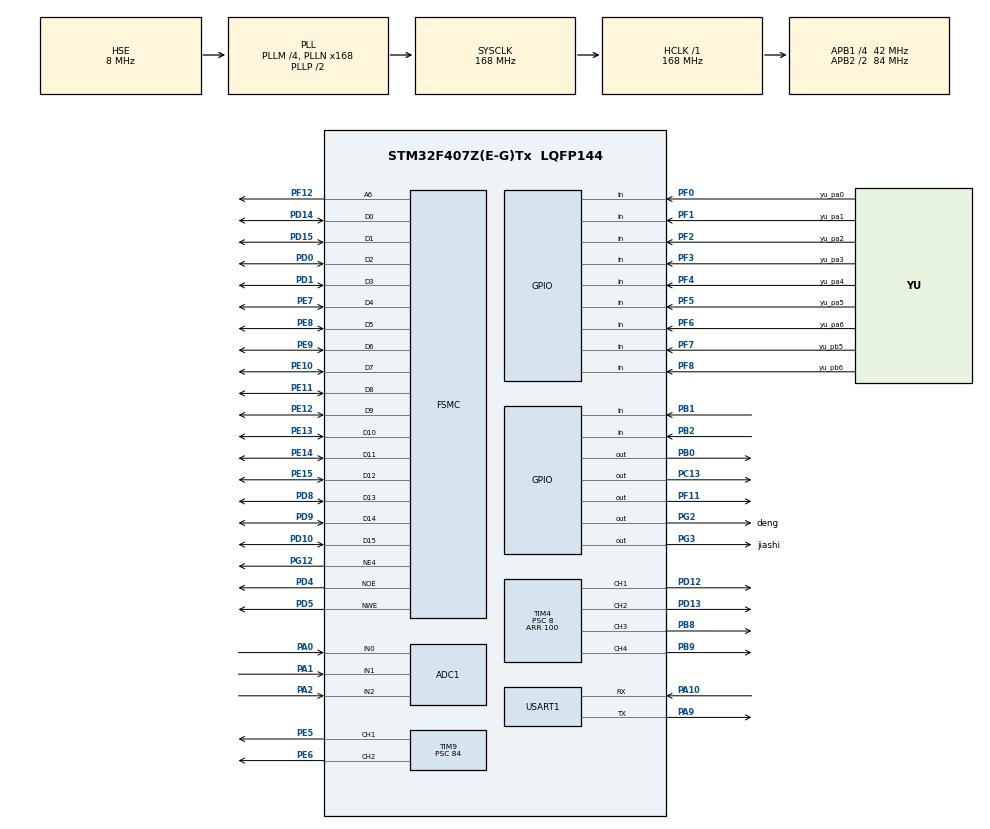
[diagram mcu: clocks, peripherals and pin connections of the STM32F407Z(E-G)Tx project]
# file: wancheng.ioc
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ADC1.Channel-2\#ChannelRegularConversion=ADC_CHANNEL_0
ADC1.Channel-3\#ChannelRegularConversion=ADC_CHANNEL_1
ADC1.Channel-4\#ChannelRegularConversion=ADC_CHANNEL_2
ADC1.ContinuousConvMode=ENABLE
ADC1.DMAContinuousRequests=ENABLE
ADC1.NbrOfConversion=3
ADC1.NbrOfConversionFlag=1
ADC1.Rank-2\#ChannelRegularConversion=1
ADC1.Rank-3\#ChannelRegularConversion=2
ADC1.Rank-4\#ChannelRegularConversion=3
ADC1.SamplingTime-2\#ChannelRegularConversion=ADC_SAMPLETIME_3CYCLES
ADC1.SamplingTime-3\#ChannelRegularConversion=ADC_SAMPLETIME_3CYCLES
ADC1.SamplingTime-4\#ChannelRegularConversion=ADC_SAMPLETIME_3CYCLES
ADC1.ScanConvMode=ENABLE
ADC1.master=1
Dma.ADC1.0.Direction=DMA_PERIPH_TO_MEMORY
Dma.ADC1.0.FIFOMode=DMA_FIFOMODE_DISABLE
Dma.ADC1.0.Instance=DMA2_Stream0
Dma.ADC1.0.MemDataAlignment=DMA_MDATAALIGN_WORD
Dma.ADC1.0.MemInc=DMA_MINC_ENABLE
Dma.ADC1.0.Mode=DMA_CIRCULAR
Dma.ADC1.0.PeriphDataAlignment=DMA_PDATAALIGN_WORD
Dma.ADC1.0.PeriphInc=DMA_PINC_DISABLE
Dma.ADC1.0.Priority=DMA_PRIORITY_MEDIUM
Dma.Request0=ADC1
FSMC.AddressSetupTime4=9
FSMC.BusTurnAroundDuration4=0
FSMC.DataSetupTime4=1
Mcu.Family=STM32F4
Mcu.Name=STM32F407Z(E-G)Tx
Mcu.Package=LQFP144
NVIC.DMA2_Stream0_IRQn=true\:0\:0\:false\:false\:true\:false\:true\:true
NVIC.PriorityGroup=NVIC_PRIORITYGROUP_4
NVIC.TIM2_IRQn=true\:0\:0\:false\:false\:true\:true\:true\:true
NVIC.TIM3_IRQn=true\:0\:0\:false\:false\:true\:true\:true\:true
NVIC.USART1_IRQn=true\:0\:0\:false\:false\:true\:true\:true\:true
PA0-WKUP.Signal=ADCx_IN0
PA1.Signal=ADCx_IN1
PA10.Mode=Asynchronous
PA10.Signal=USART1_RX
PA13.Mode=Serial_Wire
PA13.Signal=SYS_JTMS-SWDIO
PA14.Mode=Serial_Wire
PA14.Signal=SYS_JTCK-SWCLK
PA2.Signal=ADCx_IN2
PA9.Mode=Asynchronous
PA9.Signal=USART1_TX
PB0.Signal=GPIO_Output
PB1.GPIO_PuPd=GPIO_PULLUP
PB1.Signal=GPIO_Input
PB2.GPIO_PuPd=GPIO_PULLUP
PB2.Signal=GPIO_Input
PB8.Signal=S_TIM4_CH3
PB9.Signal=S_TIM4_CH4
PC13-ANTI_TAMP.Signal=GPIO_Output
PC14-OSC32_IN.Mode=LSE-External-Oscillator
PC14-OSC32_IN.Signal=RCC_OSC32_IN
PC15-OSC32_OUT.Mode=LSE-External-Oscillator
PC15-OSC32_OUT.Signal=RCC_OSC32_OUT
PD0.Signal=FSMC_D2_DA2
PD1.Signal=FSMC_D3_DA3
PD10.Signal=FSMC_D15_DA15
PD12.Signal=S_TIM4_CH1
PD13.Signal=S_TIM4_CH2
PD14.Signal=FSMC_D0_DA0
PD15.Signal=FSMC_D1_DA1
PD4.Signal=FSMC_NOE
PD5.Signal=FSMC_NWE
PD8.Signal=FSMC_D13_DA13
PD9.Signal=FSMC_D14_DA14
PE10.Signal=FSMC_D7_DA7
PE11.Signal=FSMC_D8_DA8
PE12.Signal=FSMC_D9_DA9
PE13.Signal=FSMC_D10_DA10
PE14.Signal=FSMC_D11_DA11
PE15.Signal=FSMC_D12_DA12
PE5.Signal=S_TIM9_CH1
PE6.Signal=S_TIM9_CH2
PE7.Signal=FSMC_D4_DA4
PE8.Signal=FSMC_D5_DA5
PE9.Signal=FSMC_D6_DA6
PF0.GPIO_Label=yu_pa0
PF0.GPIO_PuPd=GPIO_PULLDOWN
PF0.Signal=GPIO_Input
PF1.GPIO_Label=yu_pa1
PF1.GPIO_PuPd=GPIO_PULLDOWN
PF1.Signal=GPIO_Input
PF11.Signal=GPIO_Output
PF12.Signal=FSMC_A6
PF2.GPIO_Label=yu_pa2
PF2.GPIO_PuPd=GPIO_PULLDOWN
PF2.Signal=GPIO_Input
PF3.GPIO_Label=yu_pa3
PF3.GPIO_PuPd=GPIO_PULLDOWN
PF3.Signal=GPIO_Input
PF4.GPIO_Label=yu_pa4
PF4.GPIO_PuPd=GPIO_PULLDOWN
PF4.Signal=GPIO_Input
PF5.GPIO_Label=yu_pa5
PF5.GPIO_PuPd=GPIO_PULLDOWN
PF5.Signal=GPIO_Input
PF6.GPIO_Label=yu_pa6
PF6.GPIO_PuPd=GPIO_PULLDOWN
PF6.Signal=GPIO_Input
PF7.GPIO_Label=yu_pb5
PF7.GPIO_PuPd=GPIO_PULLDOWN
PF7.Signal=GPIO_Input
PF8.GPIO_Label=yu_pb6
PF8.GPIO_PuPd=GPIO_PULLDOWN
PF8.Signal=GPIO_Input
PG12.Mode=NorPsramChipSelect4_4
PG12.Signal=FSMC_NE4
PG2.GPIO_Label=deng
PG2.GPIO_PuPd=GPIO_PULLDOWN
PG2.GPIO_Speed=GPIO_SPEED_FREQ_MEDIUM
PG2.PinState=GPIO_PIN_RESET
PG2.Signal=GPIO_Output
PG3.GPIO_Label=jiashi
PG3.GPIO_ModeDefaultOutputPP=GPIO_MODE_OUTPUT_PP
PG3.GPIO_PuPd=GPIO_PULLDOWN
PG3.GPIO_Speed=GPIO_SPEED_FREQ_MEDIUM
PG3.Signal=GPIO_Output
PH0-OSC_IN.Mode=HSE-External-Oscillator
PH0-OSC_IN.Signal=RCC_OSC_IN
PH1-OSC_OUT.Mode=HSE-External-Oscillator
PH1-OSC_OUT.Signal=RCC_OSC_OUT
ProjectManager.HeapSize=0x200
ProjectManager.StackSize=0x400
ProjectManager.TargetToolchain=MDK-ARM V5.32
RCC.48MHZClocksFreq_Value=84000000
RCC.AHBFreq_Value=168000000
RCC.APB1CLKDivider=RCC_HCLK_DIV4
RCC.APB1Freq_Value=42000000
RCC.APB1TimFreq_Value=84000000
RCC.APB2CLKDivider=RCC_HCLK_DIV2
RCC.APB2Freq_Value=84000000
RCC.APB2TimFreq_Value=168000000
RCC.CortexFreq_Value=168000000
RCC.HCLKFreq_Value=168000000
RCC.HSE_VALUE=8000000
RCC.HSI_VALUE=16000000
RCC.PLLM=4
RCC.PLLN=168
RCC.PLLSourceVirtual=RCC_PLLSOURCE_HSE
RCC.SYSCLKFreq_VALUE=168000000
RCC.SYSCLKSource=RCC_SYSCLKSOURCE_PLLCLK
RCC.VCOOutputFreq_Value=336000000
SH.ADCx_IN0.0=ADC1_IN0,IN0
SH.ADCx_IN1.0=ADC1_IN1,IN1
SH.ADCx_IN2.0=ADC1_IN2,IN2
SH.FSMC_A6.0=FSMC_A6,A6_4
SH.FSMC_D0_DA0.0=FSMC_D0,16b-d4
SH.FSMC_D10_DA10.0=FSMC_D10,16b-d4
SH.FSMC_D11_DA11.0=FSMC_D11,16b-d4
SH.FSMC_D12_DA12.0=FSMC_D12,16b-d4
SH.FSMC_D13_DA13.0=FSMC_D13,16b-d4
SH.FSMC_D14_DA14.0=FSMC_D14,16b-d4
SH.FSMC_D15_DA15.0=FSMC_D15,16b-d4
SH.FSMC_D1_DA1.0=FSMC_D1,16b-d4
SH.FSMC_D2_DA2.0=FSMC_D2,16b-d4
SH.FSMC_D3_DA3.0=FSMC_D3,16b-d4
SH.FSMC_D4_DA4.0=FSMC_D4,16b-d4
SH.FSMC_D5_DA5.0=FSMC_D5,16b-d4
SH.FSMC_D6_DA6.0=FSMC_D6,16b-d4
SH.FSMC_D7_DA7.0=FSMC_D7,16b-d4
SH.FSMC_D8_DA8.0=FSMC_D8,16b-d4
SH.FSMC_D9_DA9.0=FSMC_D9,16b-d4
SH.FSMC_NOE.0=FSMC_NOE,Lcd4
SH.FSMC_NWE.0=FSMC_NWE,Lcd4
SH.S_TIM4_CH1.0=TIM4_CH1,PWM Generation1 CH1
SH.S_TIM4_CH2.0=TIM4_CH2,PWM Generation2 CH2
SH.S_TIM4_CH3.0=TIM4_CH3,PWM Generation3 CH3
SH.S_TIM4_CH4.0=TIM4_CH4,PWM Generation4 CH4
SH.S_TIM9_CH1.0=TIM9_CH1,PWM Generation1 CH1
SH.S_TIM9_CH2.0=TIM9_CH2,PWM Generation2 CH2
TIM1.Period=65535
TIM1.Prescaler=168-1
TIM2.Period=100000-1
TIM2.Prescaler=168-1
TIM3.Period=100
TIM3.Prescaler=1680
TIM4.Channel-PWM\ Generation1\ CH1=TIM_CHANNEL_1
TIM4.Channel-PWM\ Generation2\ CH2=TIM_CHANNEL_2
TIM4.Channel-PWM\ Generation3\ CH3=TIM_CHANNEL_3
TIM4.Channel-PWM\ Generation4\ CH4=TIM_CHANNEL_4
TIM4.OCPolarity_2=TIM_OCPOLARITY_HIGH
TIM4.Period=100
TIM4.Prescaler=8
TIM4.Pulse-PWM\ Generation1\ CH1=50
TIM4.Pulse-PWM\ Generation2\ CH2=50
TIM4.Pulse-PWM\ Generation3\ CH3=50
TIM4.Pulse-PWM\ Generation4\ CH4=50
TIM9.Channel-PWM\ Generation1\ CH1=TIM_CHANNEL_1
TIM9.Channel-PWM\ Generation2\ CH2=TIM_CHANNEL_2
TIM9.Period=100
TIM9.Prescaler=84
TIM9.Pulse-PWM\ Generation1\ CH1=50
TIM9.Pulse-PWM\ Generation2\ CH2=50
USART1.VirtualMode=VM_ASYNC
VP_TIM1_VS_ClockSourceINT.Mode=Internal
VP_TIM2_VS_ClockSourceINT.Mode=Internal
VP_TIM3_VS_ClockSourceINT.Mode=Internal
board=custom

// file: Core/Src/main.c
/* USER CODE BEGIN Header */
/**
  ******************************************************************************
  * @file           : main.c
  * @brief          : Main program body
  ******************************************************************************
  * @attention
  *
  * Copyright (c) 2023 STMicroelectronics.
  * All rights reserved.
  *
  * This software is licensed under terms that can be found in the LICENSE file
  * in the root directory of this software component.
  * If no LICENSE file comes with this software, it is provided AS-IS.
  *
  ******************************************************************************
  */
/* USER CODE END Header */
#include "main.h"
#include "adc.h"
#include "dma.h"
#include "tim.h"
#include "usart.h"
#include "gpio.h"
#include "fsmc.h"

/* USER CODE BEGIN Includes */
#include "stdio.h"
#include "tftlcd.h"
#include "menu.h"
#include "touch.h"
#include "sdio_sdcard.h"
#include "flash.h"
#include "font_show.h"
#include "picter.h"
#include "pid.h"
#include "task.h"
#include "pid.h"
#include "ctrl.h"
/* use stdio.h need fputc fgetc */

/*
"stdio.h" is used on the development board,
which needs to be set
Option -> Target-> User MicroLIB  !!!!
*/

/* USER CODE END Includes */

/* USER CODE BEGIN PTD */
uint32_t rxbuffer[adc_max];
uint8_t str[100];
extern setdata setting;
/* USER CODE END PTD */

void SystemClock_Config(void);

int main(void)
{

  /* MCU Configuration--------------------------------------------------------*/

  /* Reset of all peripherals, Initializes the Flash interface and the Systick. */
  HAL_Init();

  /* Configure the system clock */
  SystemClock_Config();

  /* Initialize all configured peripherals */
  MX_GPIO_Init();
  MX_DMA_Init();
  MX_FSMC_Init();
  MX_ADC1_Init();
  MX_TIM3_Init();
  MX_TIM1_Init();
  MX_TIM2_Init();
  MX_TIM4_Init();
  MX_TIM9_Init();
  MX_USART1_UART_Init();
  /* USER CODE BEGIN 2 */
	PID_float_Init(&wendu, setting.Temperature, 10, 0.01, 0.1);
	PID_float_Init(&wendu_jiang, setting.Temperature, 10, 0.01, 0.1);
	PID_float_Init(&shidu, setting.Humidity, 5, 0.01, 0.1);
	PID_float_Init(&turangshidu, setting.soil_humidity, 5, 0.01, 0.1);
	PID_float_Init(&shuiwei, setting.water_level, 15, 1, 0.1);

	TFTLCD_Init();
	LCD_Clear(GREEN);
	/*初始触摸屏*/
	TOUCH_init();
	Touch_Adjust();

	EN25QXX_Init();		//初始化EN25Q128
	font_init();			//初始字库

	HAL_TIM_Base_Start(&htim1);
	HAL_TIM_Base_Start_IT(&htim3);
	HAL_TIM_Base_Start_IT(&htim2);
	/*初始化控制风扇等的pwm*/
	HAL_TIM_PWM_Start(&htim4,TIM_CHANNEL_1);
	HAL_TIM_PWM_Start(&htim4,TIM_CHANNEL_2);
	HAL_TIM_PWM_Start(&htim4,TIM_CHANNEL_3);
	HAL_TIM_PWM_Start(&htim4,TIM_CHANNEL_4);
	HAL_TIM_PWM_Start(&htim9,TIM_CHANNEL_1);
	HAL_TIM_PWM_Start(&htim9,TIM_CHANNEL_2);
	HAL_ADC_Start_DMA(&hadc1, rxbuffer, adc_max);

  HAL_UART_Receive_IT(&huart1,rxBuffer,RX_CMD_LEN);

	while(SD_Init())//检测不到SD卡
	{
		LCD_ShowString(10,80,321,0,16,(uint8_t*)"SD Card Error!", BLACK, WHITE);
		printf("SD Card Error!\r\n");
		HAL_Delay(500);
	}

		menu_init();
	/*触摸屏初始化放此处是可以表面解决扩展版复位后主界面二维码显示不全*/

  /* USER CODE END 2 */

  /* Infinite loop */
  /* USER CODE BEGIN WHILE */
  while (1)
  {
			menu();
    /* USER CODE END WHILE */

  }
}

void SystemClock_Config(void)
{
  RCC_OscInitTypeDef RCC_OscInitStruct = {0};
  RCC_ClkInitTypeDef RCC_ClkInitStruct = {0};

  /** Configure the main internal regulator output voltage
  */
  __HAL_RCC_PWR_CLK_ENABLE();
  __HAL_PWR_VOLTAGESCALING_CONFIG(PWR_REGULATOR_VOLTAGE_SCALE1);

  /** Initializes the RCC Oscillators according to the specified parameters
  * in the RCC_OscInitTypeDef structure.
  */
  RCC_OscInitStruct.OscillatorType = RCC_OSCILLATORTYPE_HSE;
  RCC_OscInitStruct.HSEState = RCC_HSE_ON;
  RCC_OscInitStruct.PLL.PLLState = RCC_PLL_ON;
  RCC_OscInitStruct.PLL.PLLSource = RCC_PLLSOURCE_HSE;
  RCC_OscInitStruct.PLL.PLLM = 4;
  RCC_OscInitStruct.PLL.PLLN = 168;
  RCC_OscInitStruct.PLL.PLLP = RCC_PLLP_DIV2;
  RCC_OscInitStruct.PLL.PLLQ = 4;
  if (HAL_RCC_OscConfig(&RCC_OscInitStruct) != HAL_OK)
  {
    Error_Handler();
  }

  /** Initializes the CPU, AHB and APB buses clocks
  */
  RCC_ClkInitStruct.ClockType = RCC_CLOCKTYPE_HCLK|RCC_CLOCKTYPE_SYSCLK
                              |RCC_CLOCKTYPE_PCLK1|RCC_CLOCKTYPE_PCLK2;
  RCC_ClkInitStruct.SYSCLKSource = RCC_SYSCLKSOURCE_PLLCLK;
  RCC_ClkInitStruct.AHBCLKDivider = RCC_SYSCLK_DIV1;
  RCC_ClkInitStruct.APB1CLKDivider = RCC_HCLK_DIV4;
  RCC_ClkInitStruct.APB2CLKDivider = RCC_HCLK_DIV2;

  if (HAL_RCC_ClockConfig(&RCC_ClkInitStruct, FLASH_LATENCY_5) != HAL_OK)
  {
    Error_Handler();
  }
}

void Error_Handler(void)
{
  __disable_irq();
  while (1)
  {
  }
}
